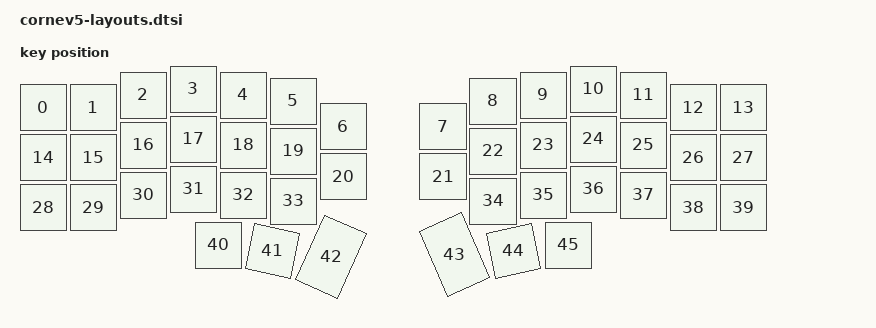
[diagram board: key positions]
#include <physical_layouts.dtsi>

/ {
    cornev5_layout: cornev5_layout {
        compatible = "zmk,physical-layout";
        transform = <&default_transform>;
        display-name = "Corne Rev5";

        keys  //                     w   h    x    y     rot    rx    ry
            = <&key_physical_attrs 100 100    0   37       0     0     0>
            , <&key_physical_attrs 100 100  100   37       0     0     0>
            , <&key_physical_attrs 100 100  200   12       0     0     0>
            , <&key_physical_attrs 100 100  300    0       0     0     0>
            , <&key_physical_attrs 100 100  400   12       0     0     0>
            , <&key_physical_attrs 100 100  500   24       0     0     0>
            , <&key_physical_attrs 100 100  600   75       0     0     0>
            , <&key_physical_attrs 100 100  800   75       0     0     0>
            , <&key_physical_attrs 100 100  900   24       0     0     0>
            , <&key_physical_attrs 100 100 1000   12       0     0     0>
            , <&key_physical_attrs 100 100 1100    0       0     0     0>
            , <&key_physical_attrs 100 100 1200   12       0     0     0>
            , <&key_physical_attrs 100 100 1300   37       0     0     0>
            , <&key_physical_attrs 100 100 1400   37       0     0     0>
            , <&key_physical_attrs 100 100    0  137       0     0     0>
            , <&key_physical_attrs 100 100  100  137       0     0     0>
            , <&key_physical_attrs 100 100  200  112       0     0     0>
            , <&key_physical_attrs 100 100  300  100       0     0     0>
            , <&key_physical_attrs 100 100  400  112       0     0     0>
            , <&key_physical_attrs 100 100  500  124       0     0     0>
            , <&key_physical_attrs 100 100  600  175       0     0     0>
            , <&key_physical_attrs 100 100  800  175       0     0     0>
            , <&key_physical_attrs 100 100  900  124       0     0     0>
            , <&key_physical_attrs 100 100 1000  112       0     0     0>
            , <&key_physical_attrs 100 100 1100  100       0     0     0>
            , <&key_physical_attrs 100 100 1200  112       0     0     0>
            , <&key_physical_attrs 100 100 1300  137       0     0     0>
            , <&key_physical_attrs 100 100 1400  137       0     0     0>
            , <&key_physical_attrs 100 100    0  237       0     0     0>
            , <&key_physical_attrs 100 100  100  237       0     0     0>
            , <&key_physical_attrs 100 100  200  212       0     0     0>
            , <&key_physical_attrs 100 100  300  200       0     0     0>
            , <&key_physical_attrs 100 100  400  212       0     0     0>
            , <&key_physical_attrs 100 100  500  224       0     0     0>
            , <&key_physical_attrs 100 100  900  224       0     0     0>
            , <&key_physical_attrs 100 100 1000  212       0     0     0>
            , <&key_physical_attrs 100 100 1100  200       0     0     0>
            , <&key_physical_attrs 100 100 1200  212       0     0     0>
            , <&key_physical_attrs 100 100 1300  237       0     0     0>
            , <&key_physical_attrs 100 100 1400  237       0     0     0>
            , <&key_physical_attrs 100 100  350  312       0     0     0>
            , <&key_physical_attrs 100 100  450  312    1200   450   412>
            , <&key_physical_attrs 100 150  550  283    2400   548   433>
            , <&key_physical_attrs 100 150  850  283 (-2400)   940   433>
            , <&key_physical_attrs 100 100  950  312 (-1200)  1050   412>
            , <&key_physical_attrs 100 100 1050  312       0     0     0>
            ;
    };
};

